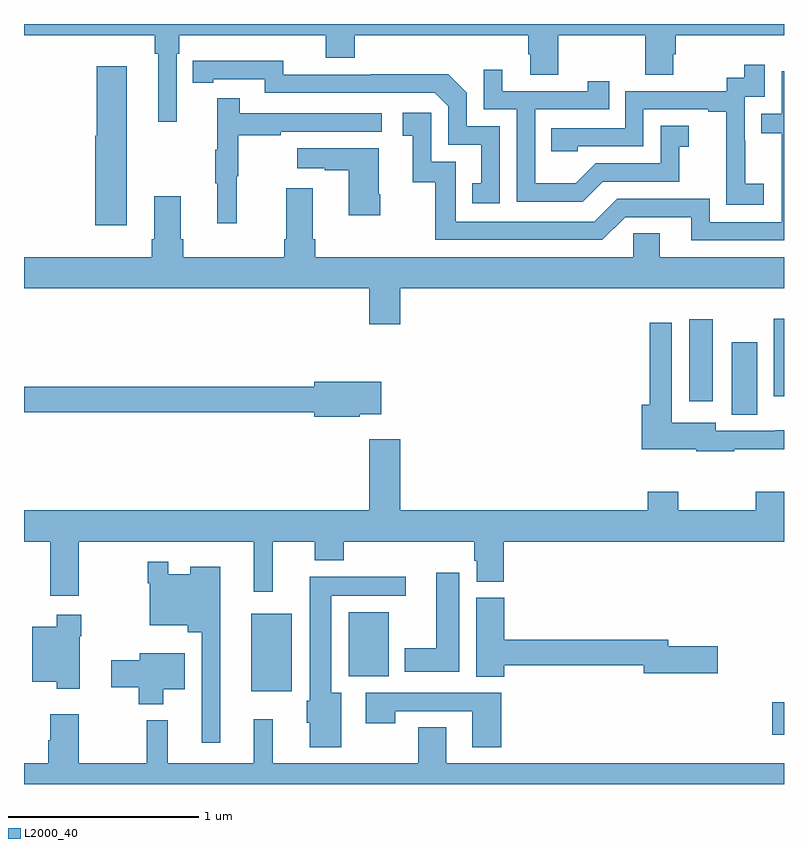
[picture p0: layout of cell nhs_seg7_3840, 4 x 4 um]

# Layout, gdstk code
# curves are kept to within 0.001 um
import gdstk
lib = gdstk.Library(unit=1e-6, precision=1e-09)
def R(c, l, rs):  # rectangles x0, y0, x1, y1
    for r in rs: c.add(gdstk.rectangle(r[:2], r[2:], *l))
def P(c, l, *ps):  # polygons
    for p in ps: c.add(gdstk.Polygon(p, *l))
L2000_40 = (2000, 40)

nhs_seg7_3840 = lib.new_cell('nhs_seg7_3840')
R(nhs_seg7_3840, L2000_40, [(358.938,1006.259,359,1006.43), (356.195,1006.487,356.41,1006.897), (356.708,1006.568,356.92,1006.903), (358.724,1007.944,358.858,1008.325), (358.502,1008.015,358.624,1008.445), (358.946,1008.042,359,1008.448)])
P(nhs_seg7_3840, L2000_40, [(355.803,1009.844),(355.817,1009.844),(355.817,1009.94),(356.588,1009.94),(356.588,1009.823),(356.741,1009.823),(356.741,1009.94),(357.653,1009.94),(357.653,1009.842),(357.665,1009.842),(357.665,1009.732),(357.813,1009.732),(357.813,1009.94),(358.27,1009.94),(358.27,1009.732),(358.417,1009.732),(358.417,1009.842),(358.43,1009.842),(358.43,1009.94),(359,1009.94),(359,1010),(355,1010),(355,1009.94),(355.687,1009.94),(355.687,1009.844),(355.706,1009.844),(355.706,1009.485),(355.803,1009.485)],
  [(357.504,1009.461),(357.33,1009.461),(357.33,1009.638),(357.232,1009.736),(356.824,1009.736),(356.824,1009.734),(356.364,1009.734),(356.364,1009.807),(355.888,1009.806),(355.888,1009.69),(355.996,1009.69),(355.996,1009.71),(356.268,1009.71),(356.268,1009.638),(357.162,1009.638),(357.234,1009.566),(357.234,1009.365),(357.407,1009.365),(357.407,1009.161),(357.358,1009.161),(357.358,1009.056),(357.504,1009.056)],
  [(358.894,1009.159),(358.796,1009.159),(358.796,1009.388),(358.794,1009.388),(358.794,1009.617),(358.899,1009.617),(358.899,1009.786),(358.791,1009.786),(358.791,1009.716),(358.698,1009.716),(358.698,1009.647),(358.164,1009.647),(358.164,1009.452),(357.775,1009.452),(357.775,1009.329),(357.915,1009.329),(357.915,1009.356),(358.26,1009.356),(358.26,1009.551),(358.601,1009.551),(358.601,1009.539),(358.697,1009.539),(358.697,1009.255),(358.696,1009.255),(358.696,1009.049),(358.894,1009.049)],
  [(355.54,1009.777),(355.382,1009.777),(355.382,1009.413),(355.376,1009.413),(355.376,1008.942),(355.54,1008.942)],
  [(358.045,1009.17),(358.449,1009.17),(358.449,1009.355),(358.498,1009.355),(358.498,1009.465),(358.35,1009.465),(358.35,1009.266),(358.008,1009.266),(357.904,1009.162),(357.69,1009.162),(357.69,1009.551),(358.079,1009.551),(358.079,1009.699),(357.968,1009.699),(357.968,1009.647),(357.517,1009.647),(357.517,1009.759),(357.42,1009.759),(357.42,1009.551),(357.594,1009.551),(357.594,1009.065),(357.94,1009.065)],
  [(359,1009.752),(358.989,1009.752),(358.989,1009.527),(358.879,1009.527),(358.879,1009.426),(358.989,1009.426),(358.989,1008.957),(358.608,1008.957),(358.608,1009.08),(358.122,1009.08),(358.002,1008.96),(357.273,1008.96),(357.273,1009.275),(357.144,1009.275),(357.144,1009.534),(356.994,1009.534),(356.994,1009.413),(357.047,1009.413),(357.047,1009.167),(357.165,1009.167),(357.165,1008.864),(358.044,1008.864),(358.164,1008.984),(358.511,1008.984),(358.511,1008.861),(359,1008.861)],
  [(356.12,1009.2),(356.128,1009.2),(356.128,1009.414),(356.351,1009.414),(356.351,1009.434),(356.884,1009.434),(356.884,1009.53),(356.135,1009.53),(356.135,1009.609),(356.018,1009.609),(356.018,1009.337),(356.007,1009.337),(356.007,1009.163),(356.018,1009.163),(356.018,1008.951),(356.12,1008.951)],
  [(356.874,1009.105),(356.866,1009.105),(356.866,1009.345),(356.439,1009.345),(356.439,1009.241),(356.582,1009.241),(356.582,1009.231),(356.708,1009.231),(356.708,1008.993),(356.874,1008.993)],
  [(356.98,1008.608),(359,1008.608),(359,1008.772),(358.345,1008.772),(358.345,1008.899),(358.206,1008.899),(358.206,1008.772),(356.534,1008.772),(356.534,1008.868),(356.521,1008.868),(356.521,1009.135),(356.381,1009.135),(356.381,1008.868),(356.369,1008.868),(356.369,1008.772),(355.838,1008.772),(355.838,1008.868),(355.825,1008.868),(355.825,1009.093),(355.685,1009.093),(355.685,1008.868),(355.673,1008.868),(355.673,1008.772),(355,1008.772),(355,1008.608),(356.816,1008.608),(356.816,1008.42),(356.98,1008.42)],
  [(358.738,1007.761),(359,1007.761),(359,1007.861),(358.954,1007.861),(358.954,1007.859),(358.642,1007.859),(358.642,1007.902),(358.41,1007.902),(358.41,1008.427),(358.294,1008.427),(358.294,1007.995),(358.25,1007.995),(358.25,1007.762),(358.538,1007.762),(358.538,1007.751),(358.738,1007.751)],
  [(356.768,1007.945),(356.881,1007.945),(356.881,1008.116),(356.528,1008.116),(356.528,1008.092),(355,1008.092),(355,1007.956),(356.528,1007.956),(356.528,1007.933),(356.768,1007.933)],
  [(355.287,1007.276),(356.21,1007.276),(356.21,1007.013),(356.31,1007.013),(356.31,1007.276),(356.531,1007.276),(356.531,1007.177),(356.684,1007.177),(356.684,1007.276),(357.371,1007.276),(357.371,1007.175),(357.383,1007.175),(357.383,1007.065),(357.524,1007.065),(357.524,1007.276),(359,1007.276),(359,1007.539),(358.852,1007.539),(358.852,1007.44),(358.443,1007.44),(358.443,1007.539),(358.283,1007.539),(358.283,1007.44),(356.98,1007.44),(356.98,1007.815),(356.816,1007.815),(356.816,1007.44),(355,1007.44),(355,1007.276),(355.139,1007.276),(355.139,1006.992),(355.287,1006.992)],
  [(356.032,1007.143),(355.874,1007.143),(355.874,1007.104),(355.758,1007.104),(355.758,1007.17),(355.65,1007.17),(355.65,1007.057),(355.662,1007.057),(355.662,1006.835),(355.862,1006.835),(355.862,1006.799),(355.935,1006.799),(355.935,1006.218),(356.032,1006.218)],
  [(357.292,1007.113),(357.17,1007.113),(357.17,1006.714),(357.005,1006.714),(357.005,1006.592),(357.292,1006.592)],
  [(356.671,1006.48),(356.617,1006.48),(356.617,1006.992),(357.01,1006.992),(357.01,1007.09),(356.504,1007.09),(356.504,1006.437),(356.487,1006.437),(356.487,1006.323),(356.504,1006.323),(356.504,1006.194),(356.671,1006.194)],
  [(357.527,1006.624),(358.262,1006.624),(358.262,1006.582),(358.651,1006.582),(358.651,1006.724),(358.39,1006.724),(358.39,1006.76),(357.527,1006.76),(357.527,1006.98),(357.38,1006.98),(357.38,1006.564),(357.527,1006.564)],
  [(355.294,1006.778),(355.302,1006.778),(355.302,1006.891),(355.172,1006.891),(355.172,1006.828),(355.043,1006.828),(355.043,1006.538),(355.172,1006.538),(355.172,1006.502),(355.294,1006.502)],
  [(355.732,1006.499),(355.846,1006.499),(355.846,1006.687),(355.61,1006.687),(355.61,1006.652),(355.458,1006.652),(355.458,1006.51),(355.603,1006.51),(355.603,1006.421),(355.732,1006.421)],
  [(357.512,1006.479),(356.799,1006.479),(356.799,1006.32),(356.955,1006.32),(356.955,1006.383),(357.359,1006.383),(357.359,1006.194),(357.512,1006.194)],
  [(359,1006.108),(357.223,1006.108),(357.223,1006.298),(357.076,1006.298),(357.076,1006.108),(356.309,1006.108),(356.309,1006.342),(356.21,1006.342),(356.21,1006.108),(355.757,1006.108),(355.757,1006.336),(355.647,1006.336),(355.647,1006.108),(355.287,1006.108),(355.287,1006.366),(355.139,1006.366),(355.139,1006.229),(355.127,1006.229),(355.127,1006.108),(355,1006.108),(355,1006),(359,1006)])

lib.write_gds('nhs_seg7_3840.gds')
